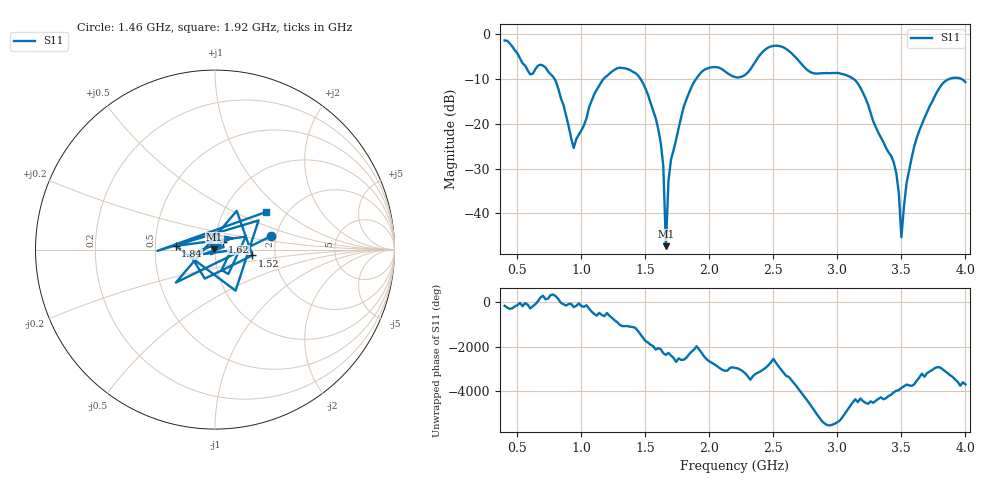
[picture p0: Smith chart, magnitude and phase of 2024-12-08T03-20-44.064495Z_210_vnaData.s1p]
!Created with skrf (http://scikit-rf.org).
# Hz S RI R 50.0
!freq ReS11 ImS11
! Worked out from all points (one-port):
!   181 points, 400 MHz to 4 GHz, reference 50 ohm
!   lowest |S11| = -47.3 dB at 1.66 GHz (marker M1), VSWR 1.01, Z = 49.6 + j0.204 ohm
!   |S11| at or under -10 dB: 789.2 MHz to 1.174 GHz (384.7 MHz wide, 39.2 % of centre); 1.462 GHz to 1.897 GHz (435 MHz wide, 25.9 % of centre); 3.125 GHz to 3.875 GHz (750.4 MHz wide, 21.4 % of centre) (the widest 3 of 4)
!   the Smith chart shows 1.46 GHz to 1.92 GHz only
!   S11 on the Smith chart (normalised r, x): 1.46 GHz: 1.87, +0.31; 1.52 GHz: 1.52, -0.10; 1.62 GHz: 1.08, +0.10; 1.84 GHz: 0.64, +0.03; 1.92 GHz: 1.57, +0.75
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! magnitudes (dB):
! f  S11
! 400 MHz  -1.4
! 600 MHz  -9.0
! 720 MHz  -7.5
! 860 MHz  -15.8
! 940 MHz  -25.4
! 1.12 GHz  -12.4
! 1.3 GHz  -7.5
! 1.46 GHz  -9.9
! 1.52 GHz  -13.5
! 1.62 GHz  -24.3
! 1.64 GHz  -29.5
! 1.66 GHz  -47.3
! 1.68 GHz  -32.8
! 1.76 GHz  -20.9
! 1.84 GHz  -13.2
! 1.92 GHz  -9.1
! 2.2 GHz  -9.6
! 2.48 GHz  -2.8
! 2.66 GHz  -4.8
! 2.8 GHz  -8.6
! 3.1 GHz  -9.5
! 3.44 GHz  -28.6
! 3.48 GHz  -35.5
! 3.5 GHz  -45.3
! 3.56 GHz  -30.4
! 3.64 GHz  -21.5
! 3.8 GHz  -11.9
! 4 GHz  -10.7
